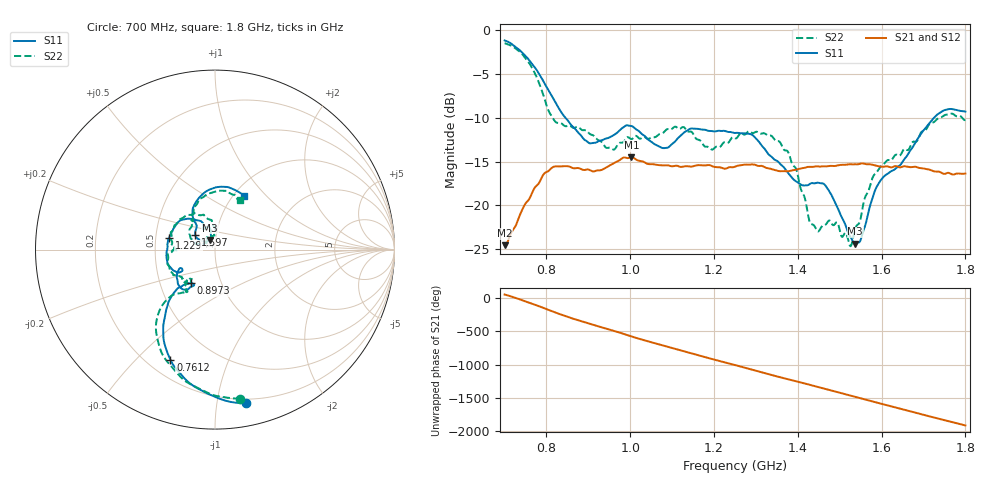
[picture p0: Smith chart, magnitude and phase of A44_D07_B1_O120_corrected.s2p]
! Created with skrf 1.9.0 (http://scikit-rf.org).
# Hz S RI R 50.0
!freq ReS11 ImS11 ReS21 ImS21 ReS12 ImS12 ReS22 ImS22
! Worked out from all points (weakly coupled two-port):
!   1601 points, 700 MHz to 1.8 GHz, reference 50 ohm
!   highest |S21| = -14.51 dB at 1.002 GHz (marker M1); lowest = -24.6 dB at 700 MHz (marker M2)
!   lowest |S11| = -24.4 dB at 1.537 GHz (marker M3), VSWR 1.13, Z = 47 + j5.06 ohm
!   |S11| at or under -10 dB: 845.5 MHz to 1.725 GHz (879.6 MHz wide, 68.4 % of centre)
!   |S22| runs from -24.6 to -1.5 dB; largest |S21 - S12| = 0.0035
!   S11 on the Smith chart (normalised r, x): 700 MHz: 0.17, -1.21; 761.2 MHz: 0.29, -0.63; 897.3 MHz: 0.72, -0.28; 1.229 GHz: 0.59, +0.08; 1.597 GHz: 0.79, +0.13; 1.8 GHz: 1.12, +0.76
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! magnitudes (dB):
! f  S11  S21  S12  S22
! 700 MHz  -1.2  -24.6  -24.3  -1.5
! 761.2 MHz  -3.6  -19.0  -18.9  -3.9
! 818.2 MHz  -8.0  -15.6  -15.7  -10.3
! 883.6 MHz  -12.1  -15.9  -15.8  -11.4
! 897.3 MHz  -12.7  -15.9  -16.0  -11.5
! 957.8 MHz  -12.0  -15.2  -15.2  -13.6
! 1.002 GHz  -10.9  -14.5  -14.6  -12.4
! 1.067 GHz  -13.2  -15.4  -15.3  -11.9
! 1.145 GHz  -11.2  -15.6  -15.6  -11.6
! 1.193 GHz  -11.5  -15.5  -15.4  -13.6
! 1.229 GHz  -11.5  -15.8  -15.7  -12.8
! 1.25 GHz  -11.7  -15.6  -15.5  -12.3
! 1.357 GHz  -15.2  -16.1  -16.0  -12.8
! 1.396 GHz  -17.3  -15.9  -15.9  -15.8
! 1.434 GHz  -17.4  -15.6  -15.6  -22.2
! 1.469 GHz  -17.9  -15.5  -15.5  -22.1
! 1.525 GHz  -23.6  -15.3  -15.3  -24.6
! 1.537 GHz  -24.4  -15.3  -15.3  -22.7
! 1.597 GHz  -17.2  -15.6  -15.5  -15.6
! 1.617 GHz  -16.3  -15.6  -15.6  -14.8
! 1.734 GHz  -9.6  -16.1  -16.2  -10.1
! 1.8 GHz  -9.3  -16.4  -16.4  -10.3
